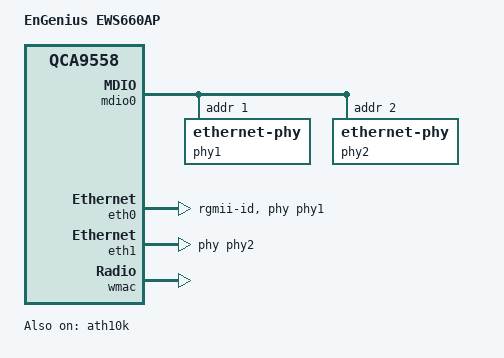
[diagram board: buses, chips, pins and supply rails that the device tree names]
// SPDX-License-Identifier: GPL-2.0-or-later OR MIT

#include "qca955x_senao_loader.dtsi"

#include <dt-bindings/gpio/gpio.h>
#include <dt-bindings/input/input.h>

/ {
	compatible = "engenius,ews660ap", "qca,qca9558";
	model = "EnGenius EWS660AP";

	aliases {
		label-mac-device = &eth0;
	};
};

&partitions {
	partition@ff0000 {
		label = "art";
		reg = <0xff0000 0x010000>;
		read-only;

		compatible = "nvmem-cells";
		#address-cells = <1>;
		#size-cells = <1>;

		macaddr_art_0: macaddr@0 {
			reg = <0x0 0x6>;
		};

		calibration_art_1000: calibration@1000 {
			reg = <0x1000 0x440>;
		};

		calibration_art_5000: calibration@5000 {
			reg = <0x5000 0x844>;
		};
	};
};

&mdio0 {
	status = "okay";

	phy1: ethernet-phy@1 {
		reg = <1>;
		eee-broken-100tx;
		eee-broken-1000t;
	};

	phy2: ethernet-phy@2 {
		reg = <2>;
		eee-broken-100tx;
		eee-broken-1000t;
		at803x-override-sgmii-link-check;
	};
};

&eth0 {
	status = "okay";

	nvmem-cells = <&macaddr_art_0>;
	nvmem-cell-names = "mac-address";

	phy-handle = <&phy1>;
	phy-mode = "rgmii-id";

	pll-data = <0x82000000 0x80000101 0x80001313>;
};

&eth1 {
	status = "okay";

	nvmem-cells = <&macaddr_art_0>;
	nvmem-cell-names = "mac-address";
	mac-address-increment = <1>;

	phy-handle = <&phy2>;

	pll-data = <0x03000000 0x00000101 0x00001313>;

	qca955x-sgmii-fixup;
};

&wmac {
	status = "okay";

	nvmem-cells = <&macaddr_art_0>, <&calibration_art_1000>;
	nvmem-cell-names = "mac-address", "calibration";
	mac-address-increment = <1>;
};

&ath10k {
	status = "okay";

	nvmem-cells = <&macaddr_art_0>, <&calibration_art_5000>;
	nvmem-cell-names = "mac-address", "calibration";
	mac-address-increment = <2>;
};
